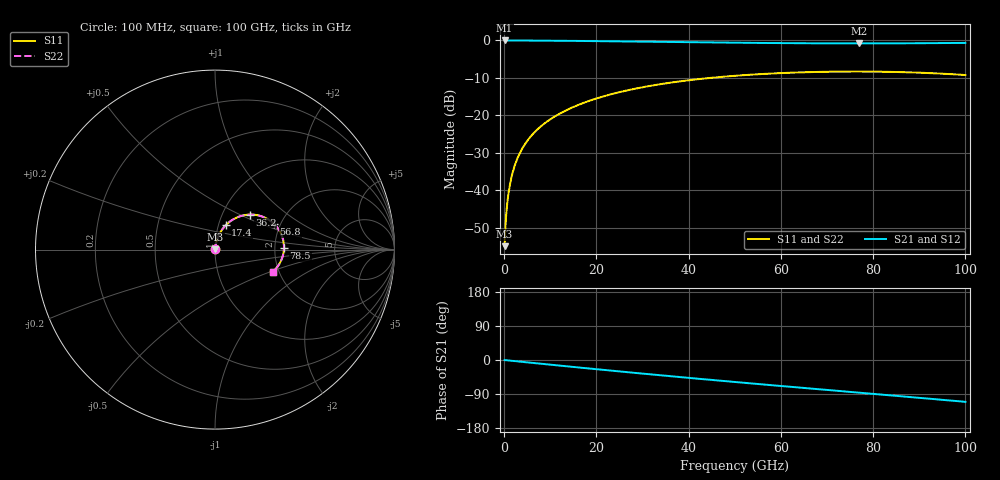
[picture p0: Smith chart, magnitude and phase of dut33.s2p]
! Touchstone file exported from HFSS 2026.1.0
!  File:  C:/ffzhzh/LocalFiles/Ansys_Project_Files/temp_train_RDL_33_1783498032_31944.aedt
!  Generated:  04:08:22 PM Jul  8, 2026
!  Design:  RDL
!  Project:  temp_train_RDL_33_1783498032_31944
! Variables:
!  h_bsmrdl = 2um
!  h_ox = 20um
!  h_rdl = 5um
!  h_sub = 80um
!  h_tmrdl = 3.7um
!  h_tsv = 80um
!  h_via = 3um
!  l_bsmrdl = 300um
!  l_sub = 764.12um
!  l_tmrdl = 364.12um
!  m_sub = 200um
!  pitch = 47.36um
!  r_tsv = 6um
!  s_tmrdl = 10um
!  w_bsmrdl = 18um
!  w_sub = 500um
!  w_tmrdl = 29.91um
!  x_tsv_center1 = 379.075um
!  x_tsv_center2 = 697.075um
!  x_tsv_center3 = 1091.105um
!  x_tsv_center4 = 1409.105um
!  x_tsv_center5 = 1803.135um
!  x_tsv_center6 = 2121.135um
# GHz S MA R 50.000000
! Terminal data exported
! Port[1] = TM_RDL1_1_T1
! Port[2] = TM_RDL1_1_T2
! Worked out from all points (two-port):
!   1000 points, 100 MHz to 100 GHz, reference 50 ohm
!   highest |S21| = -0.01 dB at 100 MHz (marker M1); lowest = -0.8 dB at 76.9 GHz (marker M2)
!   |S21| within 3 dB of the highest: start of sweep to end of sweep
!   lowest |S11| = -54.8 dB at 100 MHz (marker M3), VSWR 1.00, Z = 50.1 + j0.112 ohm
!   |S11| at or under -10 dB: start of sweep to 44.66 GHz
!   |S22| runs from -54.8 to -8.3 dB; largest |S21 - S12| = 1.6e-14
!   S11 on the Smith chart (normalised r, x): 100 MHz: 1.00, +0.00; 17.4 GHz: 1.08, +0.30; 36.2 GHz: 1.34, +0.57; 56.8 GHz: 1.85, +0.61; 78.5 GHz: 2.25, +0.05; 100 GHz: 1.86, -0.52
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0.1  0.001811 38.0  0.9986 -0.1  0.9986 -0.1  0.001811 38.0
! Gamma 0 0 0 0
! Port Impedance 50 0 50 0
0.9  0.008783 76.1  0.998 -1.1  0.998 -1.1  0.008783 76.1
1.2  0.01149 78.4  0.9979 -1.5  0.9979 -1.5  0.01149 78.4
1.5  0.01422 79.7  0.9978 -1.9  0.9978 -1.9  0.01422 79.7
2  0.01877 80.7  0.9976 -2.5  0.9976 -2.5  0.01877 80.7
2.6  0.02424 81.1  0.9973 -3.3  0.9973 -3.3  0.02424 81.1
4.1  0.03777 80.5  0.9964 -5.1  0.9964 -5.1  0.03777 80.5
6.2  0.05631 78.5  0.9947 -7.7  0.9947 -7.7  0.05631 78.5
9  0.08033 75.5  0.9921 -11.1  0.9921 -11.1  0.08033 75.5
12.5  0.1094 71.7  0.9884 -15.4  0.9884 -15.4  0.1094 71.7
16.8  0.1437 66.9  0.9831 -20.5  0.9831 -20.5  0.1438 66.9
17.4  0.1484 66.2  0.9823 -21.2  0.9823 -21.2  0.1484 66.2
24.6  0.2015 58.2  0.9717 -29.7  0.9717 -29.7  0.2015 58.1
33.4  0.2583 48.4  0.9574 -39.8  0.9574 -39.8  0.2584 48.4
36.2  0.2743 45.3  0.9527 -42.9  0.9527 -42.9  0.2744 45.3
50.1  0.3379 30.5  0.9315 -58.1  0.9315 -58.1  0.338 30.4
56.8  0.359 23.5  0.9235 -65.2  0.9235 -65.2  0.359 23.4
66.7  0.3786 13.3  0.9154 -75.6  0.9154 -75.6  0.3787 13.3
76.9  0.3848 3.0  0.9125 -86.1  0.9125 -86.1  0.3848 2.9
78.5  0.3844 1.4  0.9126 -87.8  0.9126 -87.8  0.3845 1.3
83.4  0.3812 -3.6  0.9137 -92.9  0.9137 -92.9  0.3813 -3.7
100  0.3455 -20.8  0.9263 -110.4  0.9263 -110.4  0.3456 -20.8
